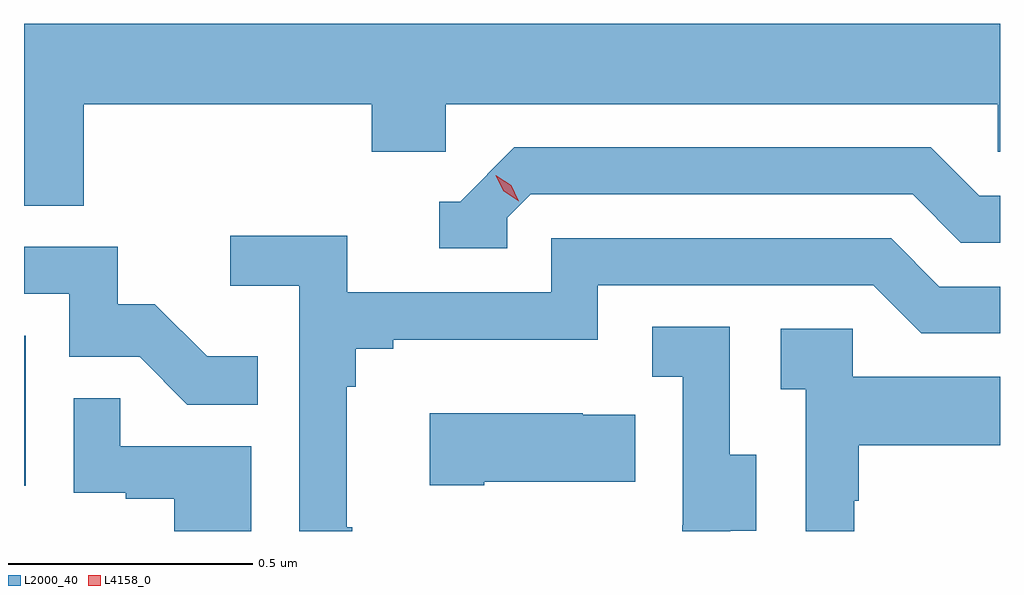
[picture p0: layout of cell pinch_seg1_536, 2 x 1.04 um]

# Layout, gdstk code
import gdstk
lib = gdstk.Library(unit=1e-6, precision=1e-09)
def R(c, l, rs):  # rectangles x0, y0, x1, y1
    for r in rs: c.add(gdstk.rectangle(r[:2], r[2:], *l))
def P(c, l, *ps):  # polygons
    for p in ps: c.add(gdstk.Polygon(p, *l))
L2000_40 = (2000, 40)
L4158_0 = (4158, 0)

pinch_seg1_536 = lib.new_cell('pinch_seg1_536')
R(pinch_seg1_536, L2000_40, [(1066.356,529.638,1066.36,529.945)])
P(pinch_seg1_536, L2000_40, [(1066.478,530.42),(1067.069,530.42),(1067.069,530.322),(1067.22,530.322),(1067.22,530.42),(1068.351,530.42),(1068.351,530.322),(1068.356,530.322),(1068.356,530.584),(1066.356,530.584),(1066.356,530.212),(1066.478,530.212)],
  [(1067.346,530.187),(1067.394,530.235),(1068.177,530.235),(1068.276,530.136),(1068.356,530.136),(1068.356,530.232),(1068.313,530.232),(1068.214,530.331),(1067.361,530.331),(1067.25,530.22),(1067.207,530.22),(1067.207,530.124),(1067.346,530.124)],
  [(1067.029,529.553),(1067.017,529.553),(1067.017,529.841),(1067.036,529.841),(1067.036,529.918),(1067.113,529.918),(1067.113,529.937),(1067.532,529.937),(1067.532,530.049),(1068.096,530.049),(1068.195,529.95),(1068.356,529.95),(1068.356,530.046),(1068.232,530.046),(1068.133,530.145),(1067.436,530.145),(1067.436,530.034),(1067.018,530.034),(1067.018,530.15),(1066.779,530.15),(1066.779,530.048),(1066.92,530.048),(1066.92,529.545),(1067.029,529.545)],
  [(1066.835,529.903),(1066.731,529.903),(1066.624,530.01),(1066.548,530.01),(1066.548,530.127),(1066.356,530.127),(1066.356,530.031),(1066.449,530.031),(1066.449,529.902),(1066.593,529.902),(1066.691,529.804),(1066.835,529.804)],
  [(1067.803,529.546),(1067.857,529.546),(1067.857,529.701),(1067.802,529.701),(1067.802,529.964),(1067.643,529.964),(1067.643,529.861),(1067.706,529.861),(1067.706,529.557),(1067.705,529.557),(1067.705,529.545),(1067.803,529.545)],
  [(1068.057,529.607),(1068.067,529.607),(1068.067,529.721),(1068.356,529.721),(1068.356,529.861),(1068.054,529.861),(1068.054,529.959),(1067.907,529.959),(1067.907,529.835),(1067.958,529.835),(1067.958,529.545),(1068.057,529.545)],
  [(1066.822,529.719),(1066.553,529.719),(1066.553,529.817),(1066.458,529.817),(1066.458,529.623),(1066.565,529.623),(1066.565,529.611),(1066.664,529.611),(1066.664,529.545),(1066.822,529.545)],
  [(1067.299,529.646),(1067.609,529.646),(1067.609,529.783),(1067.501,529.783),(1067.501,529.786),(1067.187,529.786),(1067.187,529.639),(1067.299,529.639)])
P(pinch_seg1_536, L4158_0, [(1067.37,530.221),(1067.339,530.241),(1067.323,530.273),(1067.323,530.274),(1067.323,530.274),(1067.354,530.254),(1067.37,530.221),(1067.37,530.221)])

lib.write_gds('pinch_seg1_536.gds')
